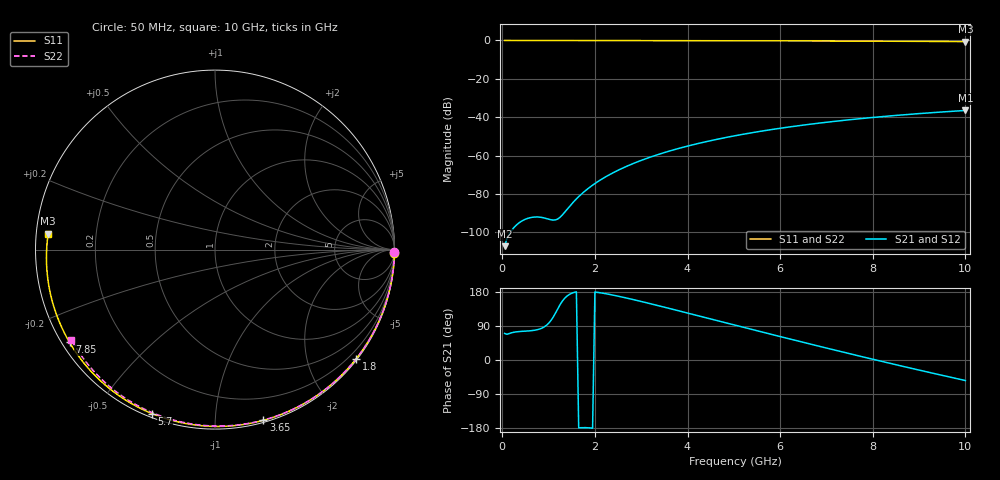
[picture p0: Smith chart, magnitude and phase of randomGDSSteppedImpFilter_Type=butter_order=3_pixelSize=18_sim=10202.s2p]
! freq	dB(S11)	phase(S11)	dB(S12)	phase(S12)
!  dB(S21)	phase(S21)	dB(S22)	phase(S22)
!S-par simulation data
#  GHz  S  DB  R 50
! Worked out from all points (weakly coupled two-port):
!   200 points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, 50 MHz to 10 GHz, reference 50 ohm
!   highest |S21| = -36.46 dB at 10 GHz (marker M1); lowest = -107.1 dB at 50 MHz (marker M2)
!   lowest |S11| = -0.6 dB at 10 GHz (marker M3), VSWR 29.22, Z = 1.72 + j2.36 ohm
!   |S11| at or under -10 dB: nowhere
!   |S22| runs from -0.5 to 0.0 dB; largest |S21 - S12| = 0
!   S11 on the Smith chart (normalised r, x): 50 MHz: open; 1.8 GHz: 0.03, -2.92; 3.65 GHz: 0.02, -1.32; 5.7 GHz: 0.02, -0.69; 7.85 GHz: 0.02, -0.29; 10 GHz: 0.03, +0.05
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0.05  -0.00 -1.1  -107.12 70.2  -107.12 70.2  -0.00 -0.9
0.45  -0.01 -9.6  -93.64 75.8  -93.64 75.8  -0.01 -7.7
0.85  -0.02 -18.1  -92.14 83.8  -92.14 83.8  -0.02 -14.5
1.25  -0.03 -26.5  -92.01 146.6  -92.01 146.6  -0.03 -21.3
1.7  -0.05 -35.8  -80.19 -178.7  -80.19 -178.7  -0.04 -28.8
1.75  -0.05 -36.8  -79.13 -178.5  -79.13 -178.5  -0.04 -29.6
1.8  -0.05 -37.8  -78.11 -178.5  -78.11 -178.5  -0.04 -30.4
2.1  -0.06 -43.9  -72.92 177.7  -72.92 177.7  -0.04 -35.4
2.5  -0.07 -51.9  -67.59 168.5  -67.59 168.5  -0.05 -41.9
2.9  -0.08 -59.8  -63.38 157.4  -63.38 157.4  -0.06 -48.3
3.4  -0.09 -69.5  -59.12 142.5  -59.12 142.5  -0.07 -56.2
3.65  -0.10 -74.2  -57.30 134.8  -57.30 134.8  -0.08 -60.1
4.35  -0.12 -87.2  -52.97 113.0  -52.97 113.0  -0.10 -70.8
5.05  -0.15 -99.7  -49.50 91.2  -49.50 91.2  -0.12 -81.1
5.7  -0.19 -111.0  -46.82 71.1  -46.82 71.1  -0.15 -90.5
6.2  -0.22 -119.6  -45.04 55.7  -45.04 55.7  -0.17 -97.5
6.7  -0.25 -128.1  -43.46 40.6  -43.46 40.6  -0.20 -104.3
7.3  -0.30 -138.2  -41.78 22.6  -41.78 22.6  -0.24 -112.4
7.85  -0.34 -147.5  -40.43 6.4  -40.43 6.4  -0.28 -119.8
8.35  -0.39 -156.0  -39.34 -8.2  -39.34 -8.2  -0.32 -126.3
9.2  -0.49 -170.8  -37.73 -32.2  -37.73 -32.2  -0.41 -137.5
10  -0.59 174.6  -36.46 -54.2  -36.46 -54.2  -0.50 -148.0
